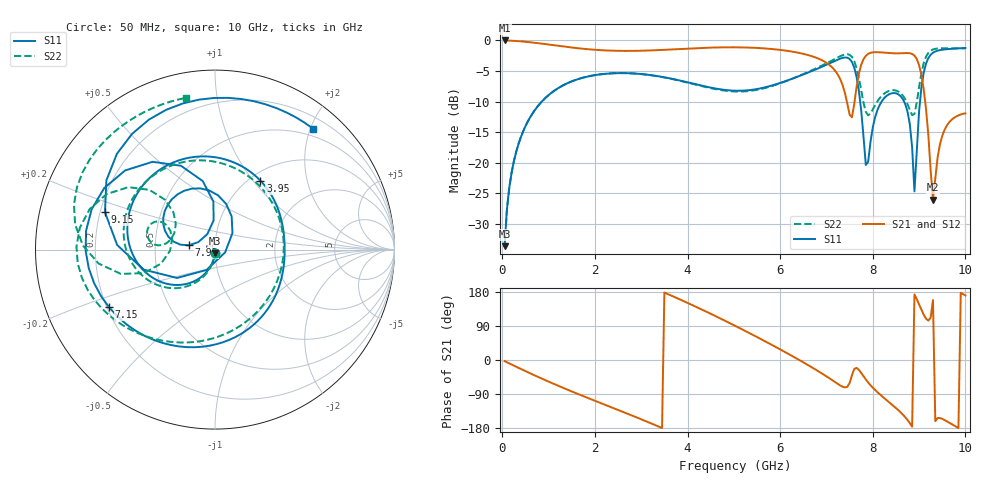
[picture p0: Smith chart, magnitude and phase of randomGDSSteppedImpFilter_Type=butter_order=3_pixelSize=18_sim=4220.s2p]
! freq	dB(S11)	phase(S11)	dB(S12)	phase(S12)
!  dB(S21)	phase(S21)	dB(S22)	phase(S22)
!S-par simulation data
#  GHz  S  DB  R 50
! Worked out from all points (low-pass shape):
!   200 points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, 50 MHz to 10 GHz, reference 50 ohm
!   highest |S21| = 0.00 dB at 50 MHz (marker M1); lowest = -26.0 dB at 9.3 GHz (marker M2)
!   |S21| within 3 dB of the highest: start of sweep to 6.837 GHz; 7.805 GHz to 8.948 GHz (1.143 GHz wide, 13.6 % of centre)
!   lowest |S11| = -33.6 dB at 50 MHz (marker M3), VSWR 1.04, Z = 49.8 - j2.08 ohm
!   |S11| at or under -10 dB: start of sweep to 852 MHz; 7.728 GHz to 8.191 GHz (463.1 MHz wide, 5.82 % of centre); 8.676 GHz to 9.02 GHz (344.2 MHz wide, 3.89 % of centre)
!   |S22| runs from -33.6 to -1.3 dB; largest |S21 - S12| = 0
!   S11 on the Smith chart (normalised r, x): 50 MHz: 1.00, -0.04; 3.95 GHz: 1.12, +1.09; 7.15 GHz: 0.21, -0.24; 7.95 GHz: 0.74, +0.04; 9.15 GHz: 0.22, +0.16; 10 GHz: 0.38, +2.04
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0.05  -33.61 -93.2  -0.00 -3.0  -0.00 -3.0  -33.61 -92.9
0.2  -21.64 -102.8  -0.05 -11.9  -0.05 -11.9  -21.64 -101.6
0.5  -14.01 -121.3  -0.22 -29.3  -0.22 -29.3  -14.01 -118.4
1.75  -6.07 169.0  -1.37 -95.4  -1.37 -95.4  -6.07 179.1
3.4  -5.89 84.9  -1.57 -176.9  -1.57 -176.9  -5.91 101.0
3.95  -6.75 56.6  -1.35 153.5  -1.35 153.5  -6.79 70.6
5.05  -8.22 2.1  -1.12 88.9  -1.12 88.9  -8.35 -3.2
5.95  -7.07 -48.7  -1.50 31.4  -1.50 31.4  -7.14 -67.9
6.7  -4.95 -106.0  -2.61 -20.4  -2.61 -20.4  -4.82 -116.7
7.15  -3.45 -151.5  -4.61 -55.3  -4.61 -55.3  -3.15 -148.6
7.4  -2.78 171.7  -8.62 -72.4  -8.62 -72.4  -2.29 -174.2
7.6  -4.43 125.4  -10.40 -23.8  -10.40 -23.8  -3.37 152.9
7.85  -20.34 116.3  -2.51 -51.3  -2.51 -51.3  -11.68 146.9
7.95  -16.61 170.5  -2.02 -66.4  -2.02 -66.4  -11.94 167.1
8.35  -8.80 136.5  -2.06 -111.0  -2.06 -111.0  -8.24 167.6
8.75  -11.62 76.4  -2.06 -158.1  -2.06 -158.1  -10.38 153.2
8.9  -24.66 -15.5  -2.48 173.1  -2.48 173.1  -12.01 -178.4
9  -11.57 -143.2  -4.03 146.8  -4.03 146.8  -7.58 -161.7
9.15  -3.78 161.3  -11.20 109.1  -11.20 109.1  -2.65 178.2
9.3  -2.01 125.6  -26.02 158.1  -26.02 158.1  -1.48 155.7
9.5  -1.51 96.1  -15.59 -155.3  -15.59 -155.3  -1.28 135.4
10  -1.24 50.9  -11.90 170.5  -11.90 170.5  -1.30 100.8
